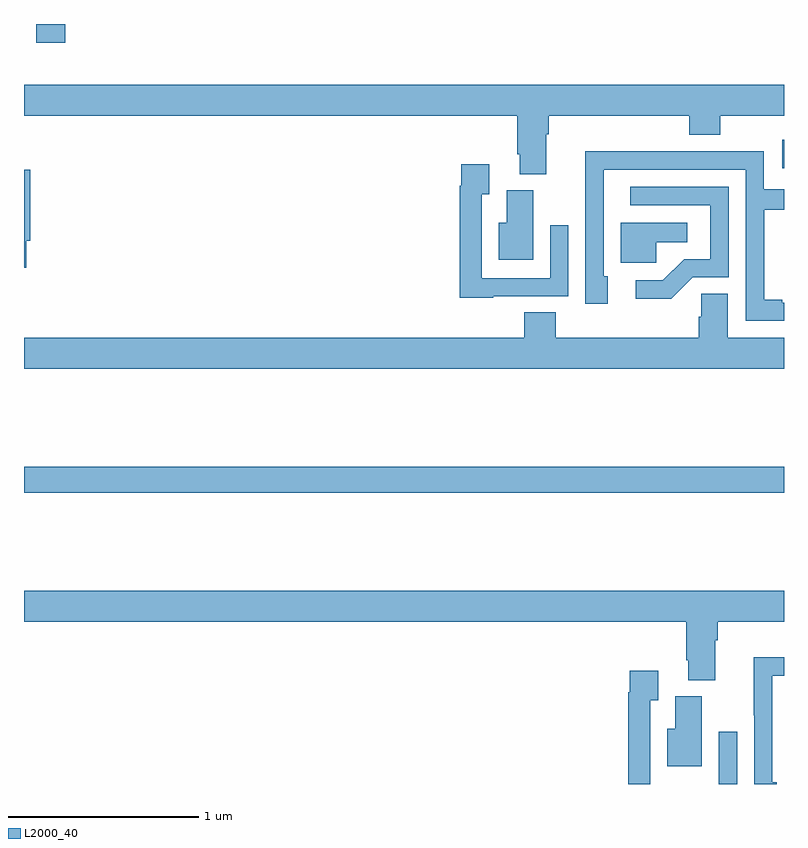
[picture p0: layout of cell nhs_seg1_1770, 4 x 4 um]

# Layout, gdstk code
import gdstk
lib = gdstk.Library(unit=1e-6, precision=1e-09)
def R(c, l, rs):  # rectangles x0, y0, x1, y1
    for r in rs: c.add(gdstk.rectangle(r[:2], r[2:], *l))
def P(c, l, *ps):  # polygons
    for p in ps: c.add(gdstk.Polygon(p, *l))
L2000_40 = (2000, 40)

nhs_seg1_1770 = lib.new_cell('nhs_seg1_1770')
R(nhs_seg1_1770, L2000_40, [(210.657,564.199,210.753,564.475), (207,565.732,211,565.868), (210.99,567.441,211,567.589), (207.065,568.101,207.218,568.199)])
P(nhs_seg1_1770, L2000_40, [(209.749,567.62),(209.762,567.62),(209.762,567.716),(210.5,567.716),(210.5,567.617),(210.665,567.617),(210.665,567.716),(211,567.716),(211,567.88),(207,567.88),(207,567.716),(209.597,567.716),(209.597,567.514),(209.609,567.514),(209.609,567.409),(209.749,567.409)],
  [(211,566.733),(210.991,566.733),(210.991,566.748),(210.895,566.748),(210.895,567.222),(211,567.222),(211,567.33),(210.894,567.33),(210.894,567.528),(210.416,567.528),(210.416,567.53),(209.954,567.53),(209.954,567.226),(209.955,567.226),(209.955,566.727),(210.073,566.727),(210.073,566.871),(210.051,566.871),(210.051,567.432),(210.798,567.432),(210.798,566.637),(211,566.637)],
  [(209.469,566.766),(209.865,566.766),(209.865,567.139),(209.769,567.139),(209.769,566.862),(209.409,566.862),(209.409,567.304),(209.449,567.304),(209.449,567.46),(209.301,567.46),(209.301,567.347),(209.293,567.347),(209.293,566.759),(209.469,566.759)],
  [(207.011,567.057),(207.032,567.057),(207.032,567.433),(207,567.433),(207,566.917),(207.011,566.917)],
  [(210.519,566.865),(210.708,566.865),(210.708,567.342),(210.192,567.342),(210.192,567.246),(210.612,567.246),(210.612,566.961),(210.474,566.961),(210.363,566.85),(210.219,566.85),(210.219,566.753),(210.406,566.753)],
  [(209.68,567.324),(209.54,567.324),(209.54,567.154),(209.498,567.154),(209.498,566.957),(209.68,566.957)],
  [(210.327,567.05),(210.49,567.05),(210.49,567.154),(210.14,567.154),(210.14,566.943),(210.327,566.943)],
  [(211,566.548),(210.703,566.548),(210.703,566.78),(210.564,566.78),(210.564,566.657),(210.551,566.657),(210.551,566.548),(209.798,566.548),(209.798,566.681),(209.633,566.681),(209.633,566.548),(207,566.548),(207,566.384),(211,566.384)],
  [(210.637,564.956),(210.65,564.956),(210.65,565.052),(211,565.052),(211,565.216),(207,565.216),(207,565.052),(210.485,565.052),(210.485,564.85),(210.497,564.85),(210.497,564.745),(210.637,564.745)],
  [(210.961,564.207),(210.939,564.207),(210.939,564.768),(211,564.768),(211,564.866),(210.842,564.866),(210.842,564.562),(210.843,564.562),(210.843,564.199),(210.961,564.199)],
  [(210.297,564.64),(210.337,564.64),(210.337,564.796),(210.189,564.796),(210.189,564.683),(210.181,564.683),(210.181,564.199),(210.297,564.199)],
  [(210.568,564.66),(210.428,564.66),(210.428,564.49),(210.386,564.49),(210.386,564.293),(210.568,564.293)])

lib.write_gds('nhs_seg1_1770.gds')
